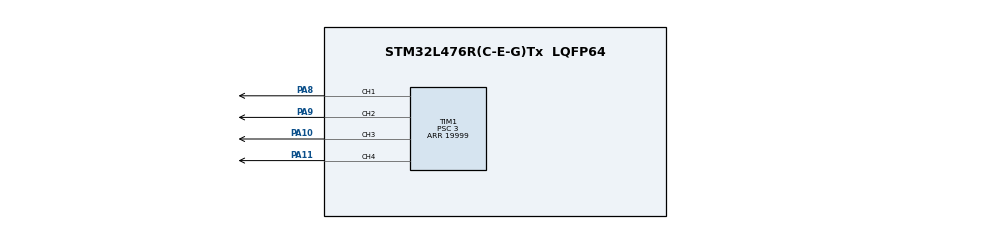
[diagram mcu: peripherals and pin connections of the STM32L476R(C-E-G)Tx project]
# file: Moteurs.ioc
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Mcu.Family=STM32L4
Mcu.Name=STM32L476R(C-E-G)Tx
Mcu.Package=LQFP64
NVIC.PriorityGroup=NVIC_PRIORITYGROUP_4
PA10.Signal=S_TIM1_CH3
PA11.Signal=S_TIM1_CH4
PA8.Signal=S_TIM1_CH1
PA9.Signal=S_TIM1_CH2
ProjectManager.HeapSize=0x200
ProjectManager.StackSize=0x400
ProjectManager.TargetToolchain=STM32CubeIDE
RCC.HSE_VALUE=8000000
RCC.HSI_VALUE=16000000
RCC.LSE_VALUE=32768
RCC.MSI_VALUE=4000000
RCC.VCOOutputFreq_Value=32000000
SH.S_TIM1_CH1.0=TIM1_CH1,PWM Generation1 CH1
SH.S_TIM1_CH2.0=TIM1_CH2,PWM Generation2 CH2
SH.S_TIM1_CH3.0=TIM1_CH3,Output Compare3 CH3
SH.S_TIM1_CH4.0=TIM1_CH4,PWM Generation4 CH4
TIM1.Channel-Output\ Compare3\ CH3=TIM_CHANNEL_3
TIM1.Channel-PWM\ Generation1\ CH1=TIM_CHANNEL_1
TIM1.Channel-PWM\ Generation2\ CH2=TIM_CHANNEL_2
TIM1.Channel-PWM\ Generation4\ CH4=TIM_CHANNEL_4
TIM1.Period=19999
TIM1.Prescaler=3
board=custom

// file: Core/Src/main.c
/* USER CODE BEGIN Header */
/**
  ******************************************************************************
  * @file           : main.c
  * @brief          : Main program body
  ******************************************************************************
  * @attention
  *
  * Copyright (c) 2025 STMicroelectronics.
  * All rights reserved.
  *
  * This software is licensed under terms that can be found in the LICENSE file
  * in the root directory of this software component.
  * If no LICENSE file comes with this software, it is provided AS-IS.
  *
  ******************************************************************************
  */
/* USER CODE END Header */
#include "main.h"

/* USER CODE BEGIN Includes */
#include "motor.h"
/* USER CODE END Includes */

TIM_HandleTypeDef htim1;
TIM_HandleTypeDef htim2;
TIM_HandleTypeDef htim3;
TIM_HandleTypeDef htim4;

void SystemClock_Config(void);
static void MX_GPIO_Init(void);
static void MX_TIM1_Init(void);

/* USER CODE BEGIN 0 */

// Motors declaration
h_motor_t motor1;
h_motor_t motor2;
h_motor_t motor3;
h_motor_t motor4;

// Motors Initialization
void System_Init() {
    motor1.htim = &htim1;
    motor1.channel = TIM_CHANNEL_1;
    motor2.htim = &htim2;
    motor2.channel = TIM_CHANNEL_2;
    motor3.htim = &htim3;
    motor3.channel = TIM_CHANNEL_3;
    motor4.htim = &htim4;
    motor4.channel = TIM_CHANNEL_4;

    motor_Init(&motor1);
    motor_Init(&motor2);
    motor_Init(&motor3);
    motor_Init(&motor4);
}

/* USER CODE END 0 */

int main(void)
{

  /* MCU Configuration--------------------------------------------------------*/

  /* Reset of all peripherals, Initializes the Flash interface and the Systick. */
  HAL_Init();

  /* Configure the system clock */
  SystemClock_Config();

  /* Initialize all configured peripherals */
  MX_GPIO_Init();
  MX_TIM1_Init();
  /* USER CODE BEGIN 2 */
  System_Init(); // Motors Initialization
  /* USER CODE END 2 */

  /* Infinite loop */
  while (1)
  {
  motor_SetPower(&motor1, 25);
  HAL_Delay(2000);
  motor_SetPower(&motor1, 50);
  HAL_Delay(2000);
  motor_SetPower(&motor1, 80);
  HAL_Delay(2000);
  motor_SetPower(&motor1, 100);
  HAL_Delay(2000);

  }
}

void SystemClock_Config(void)
{
  RCC_OscInitTypeDef RCC_OscInitStruct = {0};
  RCC_ClkInitTypeDef RCC_ClkInitStruct = {0};

  /** Configure the main internal regulator output voltage
  */
  if (HAL_PWREx_ControlVoltageScaling(PWR_REGULATOR_VOLTAGE_SCALE1) != HAL_OK)
  {
    Error_Handler();
  }

  /** Initializes the RCC Oscillators according to the specified parameters
  * in the RCC_OscInitTypeDef structure.
  */
  RCC_OscInitStruct.OscillatorType = RCC_OSCILLATORTYPE_MSI;
  RCC_OscInitStruct.MSIState = RCC_MSI_ON;
  RCC_OscInitStruct.MSICalibrationValue = 0;
  RCC_OscInitStruct.MSIClockRange = RCC_MSIRANGE_6;
  RCC_OscInitStruct.PLL.PLLState = RCC_PLL_NONE;
  if (HAL_RCC_OscConfig(&RCC_OscInitStruct) != HAL_OK)
  {
    Error_Handler();
  }

  /** Initializes the CPU, AHB and APB buses clocks
  */
  RCC_ClkInitStruct.ClockType = RCC_CLOCKTYPE_HCLK|RCC_CLOCKTYPE_SYSCLK
                              |RCC_CLOCKTYPE_PCLK1|RCC_CLOCKTYPE_PCLK2;
  RCC_ClkInitStruct.SYSCLKSource = RCC_SYSCLKSOURCE_MSI;
  RCC_ClkInitStruct.AHBCLKDivider = RCC_SYSCLK_DIV1;
  RCC_ClkInitStruct.APB1CLKDivider = RCC_HCLK_DIV1;
  RCC_ClkInitStruct.APB2CLKDivider = RCC_HCLK_DIV1;

  if (HAL_RCC_ClockConfig(&RCC_ClkInitStruct, FLASH_LATENCY_0) != HAL_OK)
  {
    Error_Handler();
  }
}

static void MX_TIM1_Init(void)
{

  TIM_MasterConfigTypeDef sMasterConfig = {0};
  TIM_OC_InitTypeDef sConfigOC = {0};
  TIM_BreakDeadTimeConfigTypeDef sBreakDeadTimeConfig = {0};

  htim1.Instance = TIM1;
  htim1.Init.Prescaler = 3;
  htim1.Init.CounterMode = TIM_COUNTERMODE_UP;
  htim1.Init.Period = 19999;
  htim1.Init.ClockDivision = TIM_CLOCKDIVISION_DIV1;
  htim1.Init.RepetitionCounter = 0;
  htim1.Init.AutoReloadPreload = TIM_AUTORELOAD_PRELOAD_DISABLE;
  if (HAL_TIM_PWM_Init(&htim1) != HAL_OK)
  {
    Error_Handler();
  }
  if (HAL_TIM_OC_Init(&htim1) != HAL_OK)
  {
    Error_Handler();
  }
  sMasterConfig.MasterOutputTrigger = TIM_TRGO_RESET;
  sMasterConfig.MasterOutputTrigger2 = TIM_TRGO2_RESET;
  sMasterConfig.MasterSlaveMode = TIM_MASTERSLAVEMODE_DISABLE;
  if (HAL_TIMEx_MasterConfigSynchronization(&htim1, &sMasterConfig) != HAL_OK)
  {
    Error_Handler();
  }
  sConfigOC.OCMode = TIM_OCMODE_PWM1;
  sConfigOC.Pulse = 0;
  sConfigOC.OCPolarity = TIM_OCPOLARITY_HIGH;
  sConfigOC.OCNPolarity = TIM_OCNPOLARITY_HIGH;
  sConfigOC.OCFastMode = TIM_OCFAST_DISABLE;
  sConfigOC.OCIdleState = TIM_OCIDLESTATE_RESET;
  sConfigOC.OCNIdleState = TIM_OCNIDLESTATE_RESET;
  if (HAL_TIM_PWM_ConfigChannel(&htim1, &sConfigOC, TIM_CHANNEL_1) != HAL_OK)
  {
    Error_Handler();
  }
  if (HAL_TIM_PWM_ConfigChannel(&htim1, &sConfigOC, TIM_CHANNEL_2) != HAL_OK)
  {
    Error_Handler();
  }
  sConfigOC.OCMode = TIM_OCMODE_TIMING;
  if (HAL_TIM_OC_ConfigChannel(&htim1, &sConfigOC, TIM_CHANNEL_3) != HAL_OK)
  {
    Error_Handler();
  }
  sConfigOC.OCMode = TIM_OCMODE_PWM1;
  if (HAL_TIM_PWM_ConfigChannel(&htim1, &sConfigOC, TIM_CHANNEL_4) != HAL_OK)
  {
    Error_Handler();
  }
  sBreakDeadTimeConfig.OffStateRunMode = TIM_OSSR_DISABLE;
  sBreakDeadTimeConfig.OffStateIDLEMode = TIM_OSSI_DISABLE;
  sBreakDeadTimeConfig.LockLevel = TIM_LOCKLEVEL_OFF;
  sBreakDeadTimeConfig.DeadTime = 0;
  sBreakDeadTimeConfig.BreakState = TIM_BREAK_DISABLE;
  sBreakDeadTimeConfig.BreakPolarity = TIM_BREAKPOLARITY_HIGH;
  sBreakDeadTimeConfig.BreakFilter = 0;
  sBreakDeadTimeConfig.Break2State = TIM_BREAK2_DISABLE;
  sBreakDeadTimeConfig.Break2Polarity = TIM_BREAK2POLARITY_HIGH;
  sBreakDeadTimeConfig.Break2Filter = 0;
  sBreakDeadTimeConfig.AutomaticOutput = TIM_AUTOMATICOUTPUT_DISABLE;
  if (HAL_TIMEx_ConfigBreakDeadTime(&htim1, &sBreakDeadTimeConfig) != HAL_OK)
  {
    Error_Handler();
  }
  HAL_TIM_MspPostInit(&htim1);

}

static void MX_GPIO_Init(void)
{

  /* GPIO Ports Clock Enable */
  __HAL_RCC_GPIOA_CLK_ENABLE();

}

void Error_Handler(void)
{
  __disable_irq();
  while (1)
  {
  }
}
